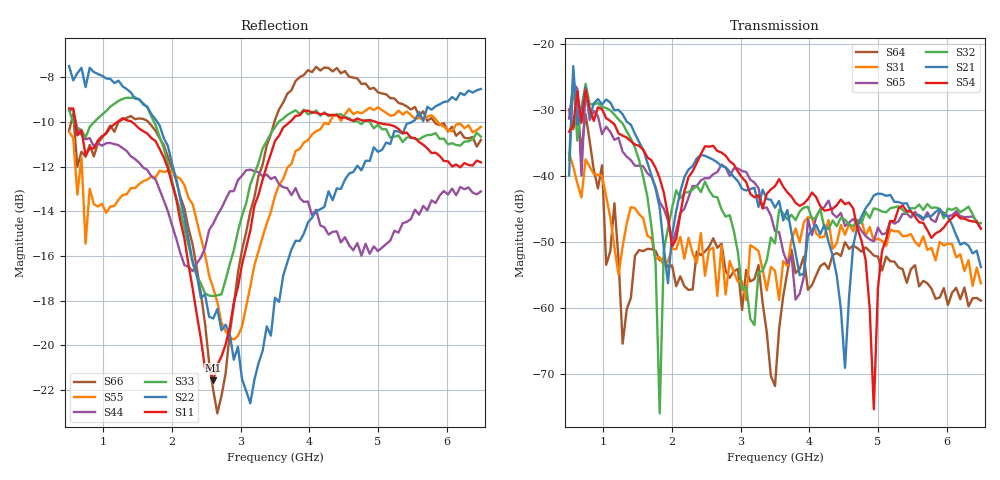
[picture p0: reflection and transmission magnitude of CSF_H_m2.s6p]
!Keysight Technologies,M9804A,MY58100912,A.14.10.03
!Date: Thursday, April 27, 2023 10:28:33
!Correction: S11(C  6-Port  )
!S12(C  6-Port  )
!S13(C  6-Port  )
!S14(C  6-Port  )
!S15(C  6-Port  )
!S16(C  6-Port  )
!S21(C  6-Port  )
!S22(C  6-Port  )
!S23(C  6-Port  )
!S24(C  6-Port  )
!S25(C  6-Port  )
!S26(C  6-Port  )
!S31(C  6-Port  )
!S32(C  6-Port  )
!S33(C  6-Port  )
!S34(C  6-Port  )
!S35(C  6-Port  )
!S36(C  6-Port  )
!S41(C  6-Port  )
!S42(C  6-Port  )
!S43(C  6-Port  )
!S44(C  6-Port  )
!S45(C  6-Port  )
!S46(C  6-Port  )
!S51(C  6-Port  )
!S52(C  6-Port  )
!S53(C  6-Port  )
!S54(C  6-Port  )
!S55(C  6-Port  )
!S56(C  6-Port  )
!S61(C  6-Port  )
!S62(C  6-Port  )
!S63(C  6-Port  )
!S64(C  6-Port  )
!S65(C  6-Port  )
!S66(C  6-Port  )
!S6P File: Measurement: :
# Hz S  RI  R 50
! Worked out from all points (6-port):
!   101 points, 500 MHz to 6.5 GHz, reference 50 ohm
!   strongest paths, dB at 500 MHz, 2 GHz, 3.5 GHz, 5 GHz, 6.5 GHz:
!     S54: -33.3, -50.7, -41.6, -57.0, -48.0
!     S21: -39.9, -48.9, -44.8, -42.7, -53.8
!     S32: -37.6, -44.9, -50.2, -45.1, -47.1
!     S65: -31.3, -50.3, -48.3, -47.8, -48.0
!     S31: -36.5, -51.0, -54.3, -49.5, -56.2
!     S64: -29.9, -53.5, -71.8, -52.2, -58.9
!   lowest |S11| = -21.6 dB at 2.6 GHz (marker M1), VSWR 1.18, Z = 42.6 + j2.16 ohm
!   |S11| at or under -10 dB: 590.4 MHz to 1.202 GHz (611.3 MHz wide, 68.2 % of centre); 1.417 GHz to 3.714 GHz (2.296 GHz wide, 89.5 % of centre); 4.974 GHz to end of sweep
